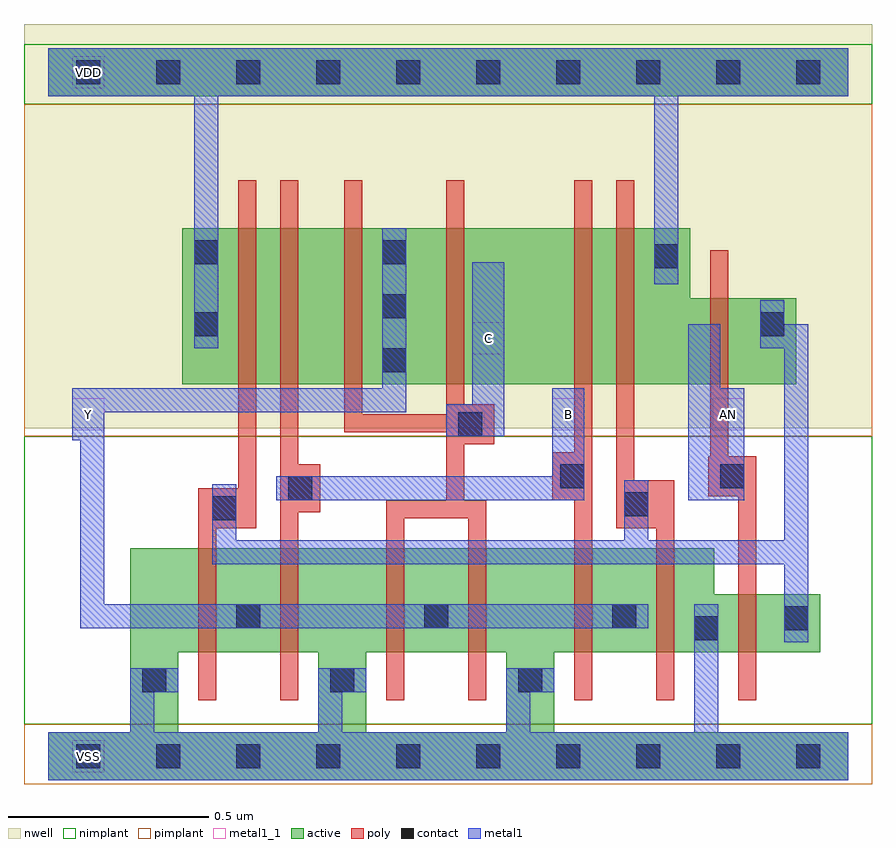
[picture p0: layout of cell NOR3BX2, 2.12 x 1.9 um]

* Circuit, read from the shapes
.subckt NOR3BX2 AN B C VDD VSS Y
M1 Y n1 VSS VSS nfet w=0.26u l=0.045u m=2
M2 VSS B Y VSS nfet w=0.26u l=0.045u m=2
M3 Y C VSS VSS nfet w=0.26u l=0.045u m=2
M4 n1 AN VSS VSS nfet w=0.145u l=0.045u
M5 n2 n1 VDD VDD pfet w=0.39u l=0.045u
M6 n3 B n2 VDD pfet w=0.39u l=0.045u
M7 Y C n3 VDD pfet w=0.39u l=0.045u
M8 n4 C Y VDD pfet w=0.39u l=0.045u
M9 n5 B n4 VDD pfet w=0.39u l=0.045u
M10 VDD n1 n5 VDD pfet w=0.39u l=0.045u
M11 n1 AN VDD VDD pfet w=0.215u l=0.045u
.ends

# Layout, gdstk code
import gdstk
lib = gdstk.Library(unit=1e-6, precision=5e-10)
def R(c, l, rs):  # rectangles x0, y0, x1, y1
    for r in rs: c.add(gdstk.rectangle(r[:2], r[2:], *l))
def A(c, l, x, y, w, h, nx, ny, dx, dy):  # array of equal rectangles
    R(c, l, [(x+i*dx, y+j*dy, x+i*dx+w, y+j*dy+h) for i in range(nx) for j in range(ny)])
def P(c, l, *ps):  # polygons
    for p in ps: c.add(gdstk.Polygon(p, *l))
active = (1, 0)
nwell = (2, 0)
poly = (3, 0)
nimplant = (4, 0)
pimplant = (5, 0)
contact = (6, 0)
metal1 = (7, 0)
metal1_1 = (7, 1)

nor3bx2 = lib.new_cell('NOR3BX2')
R(nor3bx2, active, [(0,1.65,2,1.77)])
P(nor3bx2, active, [(0.335,1.32),(1.605,1.32),(1.605,1.145),(1.87,1.145),(1.87,0.93),(0.335,0.93)],
  [(0.205,0.52),(1.665,0.52),(1.665,0.405),(1.93,0.405),(1.93,0.26),(1.265,0.26),(1.265,0.06),(2,0.06),(2,-0.06),(0,-0.06),(0,0.06),(0.205,0.06),(0.205,0.26),(0.325,0.26),(0.325,0.06),(0.675,0.06),(0.675,0.26),(0.795,0.26),(0.795,0.06),(1.145,0.06),(1.145,0.26),(0.205,0.26)])
R(nor3bx2, nwell, [(-0.06,0.82,2.06,1.83)])
P(nor3bx2, poly, [(0.475,1.44),(0.52,1.44),(0.52,0.57),(0.42,0.57),(0.42,0.14),(0.375,0.14),(0.375,0.67),(0.475,0.67)],
  [(0.58,1.44),(0.625,1.44),(0.625,0.73),(0.68,0.73),(0.68,0.61),(0.625,0.61),(0.625,0.14),(0.58,0.14)],
  [(0.74,1.44),(0.785,1.44),(0.785,0.855),(0.995,0.855),(0.995,1.44),(1.04,1.44),(1.04,0.88),(1.115,0.88),(1.115,0.78),(1.04,0.78),(1.04,0.64),(1.095,0.64),(1.095,0.14),(1.05,0.14),(1.05,0.595),(0.89,0.595),(0.89,0.14),(0.845,0.14),(0.845,0.64),(0.995,0.64),(0.995,0.81),(0.74,0.81)],
  [(1.315,1.44),(1.36,1.44),(1.36,0.14),(1.315,0.14),(1.315,0.64),(1.26,0.64),(1.26,0.76),(1.315,0.76)],
  [(1.42,1.44),(1.465,1.44),(1.465,0.69),(1.565,0.69),(1.565,0.14),(1.52,0.14),(1.52,0.57),(1.42,0.57)],
  [(1.655,1.265),(1.7,1.265),(1.7,0.75),(1.77,0.75),(1.77,0.14),(1.725,0.14),(1.725,0.65),(1.65,0.65),(1.65,0.75),(1.655,0.75)])
R(nor3bx2, nimplant, [(-0.06,0.08,2.06,0.8), (-0.06,1.63,2.06,1.78)])
R(nor3bx2, pimplant, [(-0.06,-0.07,2.06,0.08), (-0.06,0.8,2.06,1.63)])
A(nor3bx2, contact, 0.07, -0.03, 0.06, 0.06, 10, 2, 0.2, 1.71)
A(nor3bx2, contact, 0.235, 0.16, 0.06, 0.06, 3, 1, 0.47, 0)
A(nor3bx2, contact, 0.47, 0.32, 0.06, 0.06, 3, 1, 0.47, 0)
A(nor3bx2, contact, 0.835, 0.96, 0.06, 0.06, 1, 3, 0, 0.135)
R(nor3bx2, contact, [(1.615,0.29,1.675,0.35), (1.84,0.315,1.9,0.375), (0.41,0.59,0.47,0.65), (1.44,0.6,1.5,0.66), (0.6,0.64,0.66,0.7), (1.28,0.67,1.34,0.73), (1.68,0.67,1.74,0.73), (1.025,0.8,1.085,0.86), (0.365,1.05,0.425,1.11), (1.78,1.05,1.84,1.11), (1.515,1.22,1.575,1.28), (0.365,1.23,0.425,1.29)])
P(nor3bx2, metal1, [(0,1.77),(2,1.77),(2,1.65),(1.575,1.65),(1.575,1.18),(1.515,1.18),(1.515,1.65),(0.425,1.65),(0.425,1.02),(0.365,1.02),(0.365,1.65),(0,1.65)],
  [(0.835,1.32),(0.895,1.32),(0.895,0.86),(0.14,0.86),(0.14,0.38),(1.5,0.38),(1.5,0.32),(0.08,0.32),(0.08,0.79),(0.06,0.79),(0.06,0.92),(0.835,0.92)],
  [(1.06,1.235),(1.14,1.235),(1.14,0.8),(0.995,0.8),(0.995,0.88),(1.06,0.88)],
  [(1.78,1.14),(1.84,1.14),(1.84,1.08),(1.9,1.08),(1.9,0.285),(1.84,0.285),(1.84,0.48),(0.41,0.48),(0.41,0.68),(0.47,0.68),(0.47,0.54),(1.44,0.54),(1.44,0.69),(1.5,0.69),(1.5,0.54),(1.84,0.54),(1.84,1.02),(1.78,1.02)],
  [(1.26,0.92),(1.34,0.92),(1.34,0.64),(0.57,0.64),(0.57,0.7),(1.26,0.7)],
  [(1.6,1.08),(1.68,1.08),(1.68,0.92),(1.74,0.92),(1.74,0.64),(1.6,0.64)],
  [(0.205,0.22),(0.325,0.22),(0.325,0.16),(0.265,0.16),(0.265,0.06),(0.675,0.06),(0.675,0.22),(0.795,0.22),(0.795,0.16),(0.735,0.16),(0.735,0.06),(1.145,0.06),(1.145,0.22),(1.265,0.22),(1.265,0.16),(1.205,0.16),(1.205,0.06),(1.615,0.06),(1.615,0.38),(1.675,0.38),(1.675,0.06),(2,0.06),(2,-0.06),(0,-0.06),(0,0.06),(0.205,0.06)])
A(nor3bx2, metal1_1, 0.06, -0.04, 0.08, 0.08, 1, 3, 0, 0.855)
R(nor3bx2, metal1_1, [(1.26,0.815,1.34,0.895), (1.66,0.815,1.74,0.895), (1.06,1.005,1.14,1.085)])
nor3bx2.add(gdstk.Label('Y', (0.1,0.855), layer=7, texttype=1))
nor3bx2.add(gdstk.Label('C', (1.1,1.045), layer=7, texttype=1))
nor3bx2.add(gdstk.Label('B', (1.3,0.855), layer=7, texttype=1))
nor3bx2.add(gdstk.Label('AN', (1.7,0.855), layer=7, texttype=1))
nor3bx2.add(gdstk.Label('VDD', (0.1,1.71), layer=7, texttype=1))
nor3bx2.add(gdstk.Label('VSS', (0.1,0), layer=7, texttype=1))
nor3bx2.add(gdstk.Label('NOR3BX2', (0,0), layer=63, texttype=0))

lib.write_gds('NOR3BX2.gds')
